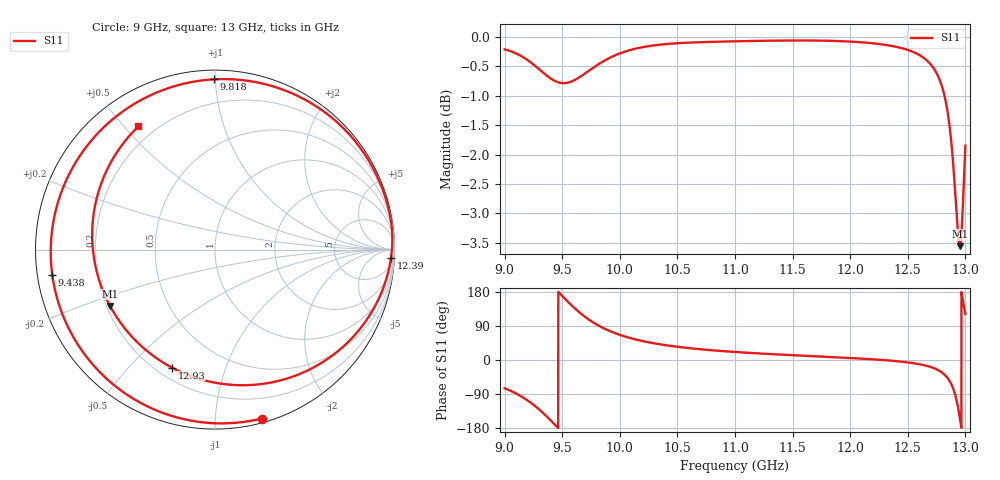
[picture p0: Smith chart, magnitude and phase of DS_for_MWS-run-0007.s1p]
! TOUCHSTONE file generated by CST DESIGN STUDIO
! Date and time: Tue Feb  4 17:43:52 2025
! Project name: C:\Work\MatlabApps\UnitCellOptimizationMatlab\CST\unitcell.cst
! Tree item: Tasks\Sweep1\SPara1\S-Parameters
! Header version: 2024
! Port assignment regex: !\s*Touchstone port\s*([0-9]+)\s*=\s*(CST MWS port|CST DES external port|CST DES block port)\s*(.+)\s* \(\"(.*)\"\)(\s*mode\s*([0-9]+))?.*
! Touchstone port assignment:
! Touchstone port 1 = CST DES external port 1 ("")
# GHz S MA R 50
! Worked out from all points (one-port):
!   4001 points, 9 GHz to 13 GHz, reference 50 ohm
!   lowest |S11| = -3.6 dB at 12.95 GHz (marker M1), VSWR 4.95, Z = 10.7 - j12.1 ohm
!   |S11| at or under -10 dB: nowhere
!   S11 on the Smith chart (normalised r, x): 9 GHz: 0.03, -1.31; 9.438 GHz: 0.04, -0.08; 9.818 GHz: 0.05, +0.99; 12.39 GHz: 15, -38; 12.93 GHz: 0.26, -0.67; 13 GHz: 0.14, +0.55
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9  0.9763 -74.6
9.138  0.9643 -94.9
9.242  0.9491 -116.1
9.335  0.9326 -140.0
9.438  0.9175 -171.2
9.5  0.9138 169.1
9.58  0.9167 144.6
9.653  0.9249 124.7
9.73  0.936 106.9
9.818  0.9487 90.4
10  0.9685 66.3
10.216  0.9813 48.8
10.5  0.9881 34.9
11  0.9918 21.2
11.5  0.9934 12.7
12  0.9913 5.2
12.386  0.9818 -2.6
12.5  0.9752 -6.3
12.698  0.9481 -18.4
12.805  0.902 -35.0
12.841  0.869 -45.9
12.871  0.8263 -59.6
12.903  0.7586 -83.2
12.926  0.7001 -110.0
12.951  0.6638 -151.7
12.972  0.6977 167.7
12.987  0.7542 141.2
13  0.8084 121.8
